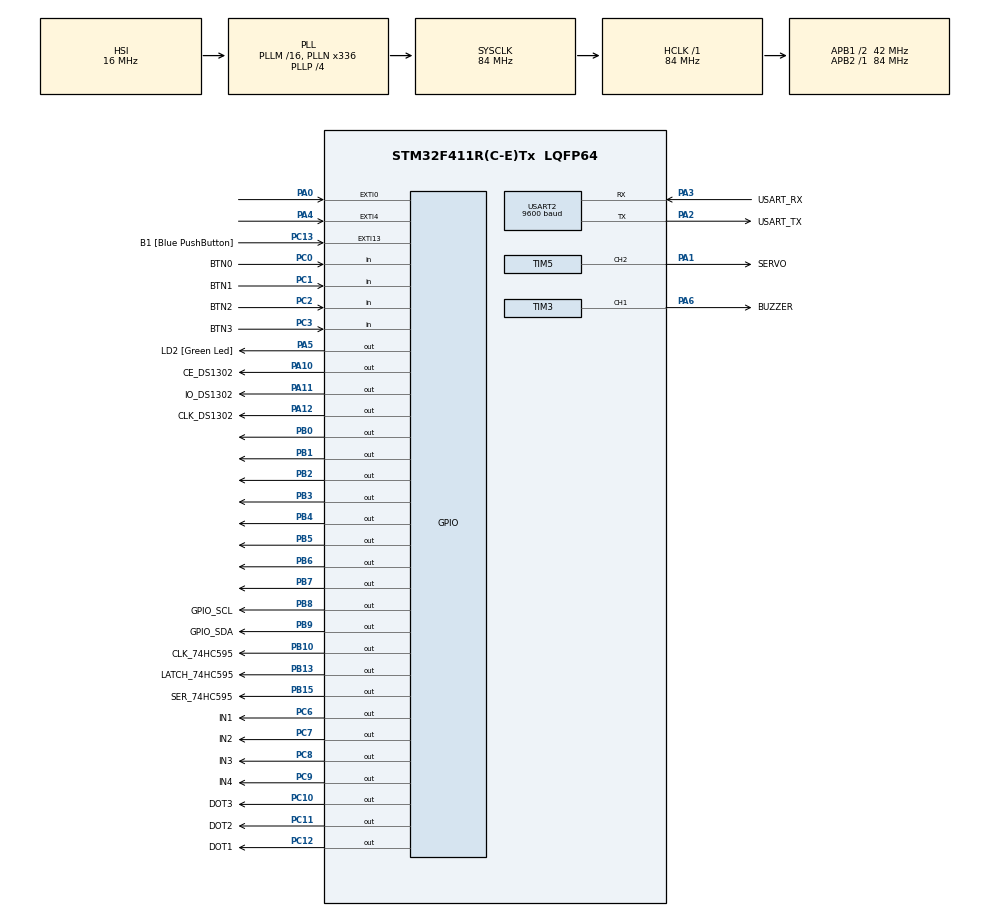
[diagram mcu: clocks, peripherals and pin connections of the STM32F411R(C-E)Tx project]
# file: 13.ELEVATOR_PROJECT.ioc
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FREERTOS.Mutexes01=myMutex01,Dynamic,NULL
FREERTOS.Tasks01=defaultTask,24,128,StartDefaultTask,Default,NULL,Dynamic,NULL,NULL;myTask02,8,128,StartTask02,Default,NULL,Dynamic,NULL,NULL;myTask03,8,128,StartTask03,Default,NULL,Dynamic,NULL,NULL;myTask04,8,128,StartTask04,Default,NULL,Dynamic,NULL,NULL;myTask05,8,128,StartTask05,Default,NULL,Dynamic,NULL,NULL
FREERTOS.configUSE_NEWLIB_REENTRANT=1
Mcu.Family=STM32F4
Mcu.Name=STM32F411R(C-E)Tx
Mcu.Package=LQFP64
NVIC.EXTI0_IRQn=true\:5\:0\:false\:false\:true\:true\:true\:true
NVIC.EXTI15_10_IRQn=true\:5\:0\:false\:false\:true\:true\:true\:true
NVIC.EXTI4_IRQn=true\:5\:0\:false\:false\:true\:true\:true\:true
NVIC.PriorityGroup=NVIC_PRIORITYGROUP_4
NVIC.TIM1_TRG_COM_TIM11_IRQn=true\:5\:0\:false\:false\:true\:true\:true\:true
NVIC.TIM1_UP_TIM10_IRQn=true\:15\:0\:false\:false\:true\:false\:false\:true
NVIC.TIM3_IRQn=true\:5\:0\:false\:false\:true\:true\:true\:true
NVIC.TIM5_IRQn=true\:5\:0\:false\:false\:true\:true\:true\:true
NVIC.TimeBase=TIM1_UP_TIM10_IRQn
NVIC.TimeBaseIP=TIM10
NVIC.USART2_IRQn=true\:5\:0\:false\:false\:true\:true\:true\:true
PA0-WKUP.Signal=GPXTI0
PA1.GPIO_Label=SERVO
PA1.Signal=S_TIM5_CH2
PA10.GPIO_Label=CE_DS1302
PA10.Signal=GPIO_Output
PA11.GPIO_Label=IO_DS1302
PA11.Signal=GPIO_Output
PA12.GPIO_Label=CLK_DS1302
PA12.Signal=GPIO_Output
PA13.GPIO_Label=TMS
PA13.Mode=Serial_Wire
PA13.Signal=SYS_JTMS-SWDIO
PA14.GPIO_Label=TCK
PA14.Mode=Serial_Wire
PA14.Signal=SYS_JTCK-SWCLK
PA2.GPIO_Label=USART_TX
PA2.Mode=Asynchronous
PA2.Signal=USART2_TX
PA3.GPIO_Label=USART_RX
PA3.Mode=Asynchronous
PA3.Signal=USART2_RX
PA4.Signal=GPXTI4
PA5.GPIO_Label=LD2 [Green Led]
PA5.Signal=GPIO_Output
PA6.GPIO_Label=BUZZER
PA6.Signal=S_TIM3_CH1
PB0.Signal=GPIO_Output
PB1.Signal=GPIO_Output
PB10.GPIO_Label=CLK_74HC595
PB10.Signal=GPIO_Output
PB13.GPIO_Label=LATCH_74HC595
PB13.Signal=GPIO_Output
PB15.GPIO_Label=SER_74HC595
PB15.Signal=GPIO_Output
PB2.Signal=GPIO_Output
PB3.Signal=GPIO_Output
PB4.Signal=GPIO_Output
PB5.Signal=GPIO_Output
PB6.Signal=GPIO_Output
PB7.Signal=GPIO_Output
PB8.GPIO_Label=GPIO_SCL
PB8.Signal=GPIO_Output
PB9.GPIO_Label=GPIO_SDA
PB9.Signal=GPIO_Output
PC0.GPIO_Label=BTN0
PC0.Signal=GPIO_Input
PC1.GPIO_Label=BTN1
PC1.Signal=GPIO_Input
PC10.GPIO_Label=DOT3
PC10.Signal=GPIO_Output
PC11.GPIO_Label=DOT2
PC11.Signal=GPIO_Output
PC12.GPIO_Label=DOT1
PC12.Signal=GPIO_Output
PC13-ANTI_TAMP.GPIO_Label=B1 [Blue PushButton]
PC13-ANTI_TAMP.GPIO_ModeDefaultEXTI=GPIO_MODE_IT_FALLING
PC13-ANTI_TAMP.Signal=GPXTI13
PC14-OSC32_IN.Mode=LSE-External-Oscillator
PC14-OSC32_IN.Signal=RCC_OSC32_IN
PC15-OSC32_OUT.Mode=LSE-External-Oscillator
PC15-OSC32_OUT.Signal=RCC_OSC32_OUT
PC2.GPIO_Label=BTN2
PC2.Signal=GPIO_Input
PC3.GPIO_Label=BTN3
PC3.Signal=GPIO_Input
PC6.GPIO_Label=IN1
PC6.Signal=GPIO_Output
PC7.GPIO_Label=IN2
PC7.Signal=GPIO_Output
PC8.GPIO_Label=IN3
PC8.Signal=GPIO_Output
PC9.GPIO_Label=IN4
PC9.Signal=GPIO_Output
PH0\ -\ OSC_IN.Mode=HSE-External-Clock-Source
PH0\ -\ OSC_IN.Signal=RCC_OSC_IN
PH1\ -\ OSC_OUT.Mode=HSE-External-Clock-Source
PH1\ -\ OSC_OUT.Signal=RCC_OSC_OUT
ProjectManager.HeapSize=0x200
ProjectManager.StackSize=0x400
ProjectManager.TargetToolchain=STM32CubeIDE
RCC.48MHZClocksFreq_Value=84000000
RCC.AHBFreq_Value=84000000
RCC.APB1CLKDivider=RCC_HCLK_DIV2
RCC.APB1Freq_Value=42000000
RCC.APB1TimFreq_Value=84000000
RCC.APB2Freq_Value=84000000
RCC.APB2TimFreq_Value=84000000
RCC.CortexFreq_Value=84000000
RCC.FLatency-AdvancedSettings=FLASH_LATENCY_2
RCC.HCLKFreq_Value=84000000
RCC.HSE_VALUE=8000000
RCC.HSI_VALUE=16000000
RCC.PLLN=336
RCC.PLLP=RCC_PLLP_DIV4
RCC.SYSCLKFreq_VALUE=84000000
RCC.SYSCLKSource=RCC_SYSCLKSOURCE_PLLCLK
RCC.VCOOutputFreq_Value=336000000
SH.S_TIM3_CH1.0=TIM3_CH1,PWM Generation1 CH1
SH.S_TIM5_CH2.0=TIM5_CH2,PWM Generation2 CH2
TIM11.Period=1000-1
TIM11.Prescaler=84-1
TIM2.Prescaler=84-1
TIM3.Channel-PWM\ Generation1\ CH1=TIM_CHANNEL_1
TIM3.Period=400-1
TIM3.Prescaler=52.5-1
TIM3.Pulse-PWM\ Generation1\ CH1=200-1
TIM5.Channel-PWM\ Generation2\ CH2=TIM_CHANNEL_2
TIM5.Period=1000-1
TIM5.Prescaler=1680-1
USART2.BaudRate=9600
USART2.VirtualMode=VM_ASYNC
VP_FREERTOS_VS_CMSIS_V2.Mode=CMSIS_V2
VP_SYS_VS_tim10.Mode=TIM10
VP_TIM11_VS_ClockSourceINT.Mode=Enable_Timer
VP_TIM2_VS_ClockSourceINT.Mode=Internal
VP_TIM3_VS_ClockSourceINT.Mode=Internal
VP_TIM5_VS_ClockSourceINT.Mode=Internal
board=NUCLEO-F411RE

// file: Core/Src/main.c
/* USER CODE BEGIN Header */
/**
  ******************************************************************************
  * @file           : main.c
  * @brief          : Main program body
  ******************************************************************************
  * @attention
  *
  * <h2><center>&copy; Copyright (c) 2025 STMicroelectronics.
  * All rights reserved.</center></h2>
  *
  * This software component is licensed by ST under BSD 3-Clause license,
  * the "License"; You may not use this file except in compliance with the
  * License. You may obtain a copy of the License at:
  *                        opensource.org/licenses/BSD-3-Clause
  *
  ******************************************************************************
  */
/* USER CODE END Header */
#include "main.h"
#include "cmsis_os.h"

/* USER CODE BEGIN Includes */
#include "extern.h"
#include "button.h"
#include "stepmotor.h"
#include "buzzer.h"
#include "led.h"
#include "dotmatrix.h"
/* USER CODE END Includes */

TIM_HandleTypeDef htim2;
TIM_HandleTypeDef htim3;
TIM_HandleTypeDef htim5;
TIM_HandleTypeDef htim11;

UART_HandleTypeDef huart2;

/* Definitions for defaultTask */
osThreadId_t defaultTaskHandle;
const osThreadAttr_t defaultTask_attributes = {
  .name = "defaultTask",
  .stack_size = 128 * 4,
  .priority = (osPriority_t) osPriorityNormal,
};
/* Definitions for myTask02 */
osThreadId_t myTask02Handle;
const osThreadAttr_t myTask02_attributes = {
  .name = "myTask02",
  .stack_size = 128 * 4,
  .priority = (osPriority_t) osPriorityLow,
};
/* Definitions for myTask03 */
osThreadId_t myTask03Handle;
const osThreadAttr_t myTask03_attributes = {
  .name = "myTask03",
  .stack_size = 128 * 4,
  .priority = (osPriority_t) osPriorityLow,
};
/* Definitions for myTask04 */
osThreadId_t myTask04Handle;
const osThreadAttr_t myTask04_attributes = {
  .name = "myTask04",
  .stack_size = 128 * 4,
  .priority = (osPriority_t) osPriorityLow,
};
/* Definitions for myTask05 */
osThreadId_t myTask05Handle;
const osThreadAttr_t myTask05_attributes = {
  .name = "myTask05",
  .stack_size = 128 * 4,
  .priority = (osPriority_t) osPriorityLow,
};
/* Definitions for myMutex01 */
osMutexId_t myMutex01Handle;
const osMutexAttr_t myMutex01_attributes = {
  .name = "myMutex01"
};
/* USER CODE BEGIN PV */
uint8_t rx_data;   // uart2 rx byte
 volatile int TIM11_1ms_counter=0;
volatile int line0_timer = 0;
volatile int line1_timer = 0;
/* USER CODE END PV */

void SystemClock_Config(void);
static void MX_GPIO_Init(void);
static void MX_USART2_UART_Init(void);
static void MX_TIM11_Init(void);
static void MX_TIM2_Init(void);
static void MX_TIM3_Init(void);
static void MX_TIM5_Init(void);
void StartDefaultTask(void *argument);
void StartTask02(void *argument);
void StartTask03(void *argument);
void StartTask04(void *argument);
void StartTask05(void *argument);

/* USER CODE BEGIN 0 */

#ifdef __GNUC__    // Add for printf
/* With GCC, small printf (option LD Linker->Libraries->Small printf
   set to 'Yes') calls __io_putchar() */
#define PUTCHAR_PROTOTYPE int __io_putchar(int ch)
#else
#define PUTCHAR_PROTOTYPE int fputc(int ch, FILE *f)
#endif /* __GNUC__ */
/**
  * @brief  Retargets the C library printf function to the USART.
  * @param  None
  * @retval None
  */
PUTCHAR_PROTOTYPE   // Add for printf
{
  /* Place your implementation of fputc here */
  /* e.g. write a character to the USART3 and Loop until the end of transmission */
  HAL_UART_Transmit(&huart2, (uint8_t *)&ch, 1, 0xFFFF);

  return ch;
}
/* USER CODE END 0 */

int main(void)
{

  /* MCU Configuration--------------------------------------------------------*/

  /* Reset of all peripherals, Initializes the Flash interface and the Systick. */
  HAL_Init();

  /* Configure the system clock */
  SystemClock_Config();

  /* Initialize all configured peripherals */
  MX_GPIO_Init();
  MX_USART2_UART_Init();
  MX_TIM11_Init();
  MX_TIM2_Init();
  MX_TIM3_Init();
  MX_TIM5_Init();
  /* USER CODE BEGIN 2 */
  i2c_lcd_init();//lcd init
  HAL_GPIO_WritePin(GPIOB, GPIO_PIN_10 | GPIO_PIN_13 | GPIO_PIN_15, 0);
  HAL_Delay(10); //dot_matrix init

  HAL_UART_Receive_IT(&huart2, &rx_data, 1);
  HAL_TIM_Base_Start_IT(&htim11);
  HAL_TIM_Base_Start_IT(&htim2);   // for make delay_us

  //stepmotor_main();
  //dotmatrix_main_func();
  //dotmatrix_main_test();
  //led_main();
  // i2c_lcd_main();
  //servo_motor_main();
  //ds1302_main();
 //buzzer_main();
  /* USER CODE END 2 */

  /* Init scheduler */
  osKernelInitialize();
  /* Create the mutex(es) */
  /* creation of myMutex01 */
  myMutex01Handle = osMutexNew(&myMutex01_attributes);

  /* Create the thread(s) */
  /* creation of defaultTask */
  defaultTaskHandle = osThreadNew(StartDefaultTask, NULL, &defaultTask_attributes);

  /* creation of myTask02 */
  myTask02Handle = osThreadNew(StartTask02, NULL, &myTask02_attributes);

  /* creation of myTask03 */
  myTask03Handle = osThreadNew(StartTask03, NULL, &myTask03_attributes);

  /* creation of myTask04 */
  myTask04Handle = osThreadNew(StartTask04, NULL, &myTask04_attributes);

  /* creation of myTask05 */
  myTask05Handle = osThreadNew(StartTask05, NULL, &myTask05_attributes);

  /* Start scheduler */
  osKernelStart();

  /* We should never get here as control is now taken by the scheduler */
  /* Infinite loop */
  /* USER CODE BEGIN WHILE */

//	  *(unsigned int*)GPIOC_PUPDR = 0x55;
//	  button_led_toggle_test();
    /* USER CODE END WHILE */

}

void SystemClock_Config(void)
{
  RCC_OscInitTypeDef RCC_OscInitStruct = {0};
  RCC_ClkInitTypeDef RCC_ClkInitStruct = {0};

  /** Configure the main internal regulator output voltage
  */
  __HAL_RCC_PWR_CLK_ENABLE();
  __HAL_PWR_VOLTAGESCALING_CONFIG(PWR_REGULATOR_VOLTAGE_SCALE1);
  /** Initializes the RCC Oscillators according to the specified parameters
  * in the RCC_OscInitTypeDef structure.
  */
  RCC_OscInitStruct.OscillatorType = RCC_OSCILLATORTYPE_HSI;
  RCC_OscInitStruct.HSIState = RCC_HSI_ON;
  RCC_OscInitStruct.HSICalibrationValue = RCC_HSICALIBRATION_DEFAULT;
  RCC_OscInitStruct.PLL.PLLState = RCC_PLL_ON;
  RCC_OscInitStruct.PLL.PLLSource = RCC_PLLSOURCE_HSI;
  RCC_OscInitStruct.PLL.PLLM = 16;
  RCC_OscInitStruct.PLL.PLLN = 336;
  RCC_OscInitStruct.PLL.PLLP = RCC_PLLP_DIV4;
  RCC_OscInitStruct.PLL.PLLQ = 4;
  if (HAL_RCC_OscConfig(&RCC_OscInitStruct) != HAL_OK)
  {
    Error_Handler();
  }
  /** Initializes the CPU, AHB and APB buses clocks
  */
  RCC_ClkInitStruct.ClockType = RCC_CLOCKTYPE_HCLK|RCC_CLOCKTYPE_SYSCLK
                              |RCC_CLOCKTYPE_PCLK1|RCC_CLOCKTYPE_PCLK2;
  RCC_ClkInitStruct.SYSCLKSource = RCC_SYSCLKSOURCE_PLLCLK;
  RCC_ClkInitStruct.AHBCLKDivider = RCC_SYSCLK_DIV1;
  RCC_ClkInitStruct.APB1CLKDivider = RCC_HCLK_DIV2;
  RCC_ClkInitStruct.APB2CLKDivider = RCC_HCLK_DIV1;

  if (HAL_RCC_ClockConfig(&RCC_ClkInitStruct, FLASH_LATENCY_2) != HAL_OK)
  {
    Error_Handler();
  }
}

static void MX_TIM2_Init(void)
{

  TIM_ClockConfigTypeDef sClockSourceConfig = {0};
  TIM_MasterConfigTypeDef sMasterConfig = {0};

  htim2.Instance = TIM2;
  htim2.Init.Prescaler = 84-1;
  htim2.Init.CounterMode = TIM_COUNTERMODE_UP;
  htim2.Init.Period = 4294967295;
  htim2.Init.ClockDivision = TIM_CLOCKDIVISION_DIV1;
  htim2.Init.AutoReloadPreload = TIM_AUTORELOAD_PRELOAD_DISABLE;
  if (HAL_TIM_Base_Init(&htim2) != HAL_OK)
  {
    Error_Handler();
  }
  sClockSourceConfig.ClockSource = TIM_CLOCKSOURCE_INTERNAL;
  if (HAL_TIM_ConfigClockSource(&htim2, &sClockSourceConfig) != HAL_OK)
  {
    Error_Handler();
  }
  sMasterConfig.MasterOutputTrigger = TIM_TRGO_RESET;
  sMasterConfig.MasterSlaveMode = TIM_MASTERSLAVEMODE_DISABLE;
  if (HAL_TIMEx_MasterConfigSynchronization(&htim2, &sMasterConfig) != HAL_OK)
  {
    Error_Handler();
  }

}

static void MX_TIM3_Init(void)
{

  TIM_ClockConfigTypeDef sClockSourceConfig = {0};
  TIM_MasterConfigTypeDef sMasterConfig = {0};
  TIM_OC_InitTypeDef sConfigOC = {0};

  htim3.Instance = TIM3;
  htim3.Init.Prescaler = 52.5-1;
  htim3.Init.CounterMode = TIM_COUNTERMODE_UP;
  htim3.Init.Period = 400-1;
  htim3.Init.ClockDivision = TIM_CLOCKDIVISION_DIV1;
  htim3.Init.AutoReloadPreload = TIM_AUTORELOAD_PRELOAD_DISABLE;
  if (HAL_TIM_Base_Init(&htim3) != HAL_OK)
  {
    Error_Handler();
  }
  sClockSourceConfig.ClockSource = TIM_CLOCKSOURCE_INTERNAL;
  if (HAL_TIM_ConfigClockSource(&htim3, &sClockSourceConfig) != HAL_OK)
  {
    Error_Handler();
  }
  if (HAL_TIM_PWM_Init(&htim3) != HAL_OK)
  {
    Error_Handler();
  }
  sMasterConfig.MasterOutputTrigger = TIM_TRGO_RESET;
  sMasterConfig.MasterSlaveMode = TIM_MASTERSLAVEMODE_DISABLE;
  if (HAL_TIMEx_MasterConfigSynchronization(&htim3, &sMasterConfig) != HAL_OK)
  {
    Error_Handler();
  }
  sConfigOC.OCMode = TIM_OCMODE_PWM1;
  sConfigOC.Pulse = 200-1;
  sConfigOC.OCPolarity = TIM_OCPOLARITY_HIGH;
  sConfigOC.OCFastMode = TIM_OCFAST_DISABLE;
  if (HAL_TIM_PWM_ConfigChannel(&htim3, &sConfigOC, TIM_CHANNEL_1) != HAL_OK)
  {
    Error_Handler();
  }
  HAL_TIM_MspPostInit(&htim3);

}

static void MX_TIM5_Init(void)
{

  TIM_ClockConfigTypeDef sClockSourceConfig = {0};
  TIM_MasterConfigTypeDef sMasterConfig = {0};
  TIM_OC_InitTypeDef sConfigOC = {0};

  htim5.Instance = TIM5;
  htim5.Init.Prescaler = 1680-1;
  htim5.Init.CounterMode = TIM_COUNTERMODE_UP;
  htim5.Init.Period = 1000-1;
  htim5.Init.ClockDivision = TIM_CLOCKDIVISION_DIV1;
  htim5.Init.AutoReloadPreload = TIM_AUTORELOAD_PRELOAD_DISABLE;
  if (HAL_TIM_Base_Init(&htim5) != HAL_OK)
  {
    Error_Handler();
  }
  sClockSourceConfig.ClockSource = TIM_CLOCKSOURCE_INTERNAL;
  if (HAL_TIM_ConfigClockSource(&htim5, &sClockSourceConfig) != HAL_OK)
  {
    Error_Handler();
  }
  if (HAL_TIM_PWM_Init(&htim5) != HAL_OK)
  {
    Error_Handler();
  }
  sMasterConfig.MasterOutputTrigger = TIM_TRGO_RESET;
  sMasterConfig.MasterSlaveMode = TIM_MASTERSLAVEMODE_DISABLE;
  if (HAL_TIMEx_MasterConfigSynchronization(&htim5, &sMasterConfig) != HAL_OK)
  {
    Error_Handler();
  }
  sConfigOC.OCMode = TIM_OCMODE_PWM1;
  sConfigOC.Pulse = 0;
  sConfigOC.OCPolarity = TIM_OCPOLARITY_HIGH;
  sConfigOC.OCFastMode = TIM_OCFAST_DISABLE;
  if (HAL_TIM_PWM_ConfigChannel(&htim5, &sConfigOC, TIM_CHANNEL_2) != HAL_OK)
  {
    Error_Handler();
  }
  HAL_TIM_MspPostInit(&htim5);

}

static void MX_TIM11_Init(void)
{

  htim11.Instance = TIM11;
  htim11.Init.Prescaler = 84-1;
  htim11.Init.CounterMode = TIM_COUNTERMODE_UP;
  htim11.Init.Period = 1000-1;
  htim11.Init.ClockDivision = TIM_CLOCKDIVISION_DIV1;
  htim11.Init.AutoReloadPreload = TIM_AUTORELOAD_PRELOAD_DISABLE;
  if (HAL_TIM_Base_Init(&htim11) != HAL_OK)
  {
    Error_Handler();
  }

}

static void MX_USART2_UART_Init(void)
{

  huart2.Instance = USART2;
  huart2.Init.BaudRate = 9600;
  huart2.Init.WordLength = UART_WORDLENGTH_8B;
  huart2.Init.StopBits = UART_STOPBITS_1;
  huart2.Init.Parity = UART_PARITY_NONE;
  huart2.Init.Mode = UART_MODE_TX_RX;
  huart2.Init.HwFlowCtl = UART_HWCONTROL_NONE;
  huart2.Init.OverSampling = UART_OVERSAMPLING_16;
  if (HAL_UART_Init(&huart2) != HAL_OK)
  {
    Error_Handler();
  }

}

static void MX_GPIO_Init(void)
{
  GPIO_InitTypeDef GPIO_InitStruct = {0};

  /* GPIO Ports Clock Enable */
  __HAL_RCC_GPIOC_CLK_ENABLE();
  __HAL_RCC_GPIOH_CLK_ENABLE();
  __HAL_RCC_GPIOA_CLK_ENABLE();
  __HAL_RCC_GPIOB_CLK_ENABLE();

  /*Configure GPIO pin Output Level */
  HAL_GPIO_WritePin(GPIOA, LD2_Pin|CE_DS1302_Pin|IO_DS1302_Pin|CLK_DS1302_Pin, GPIO_PIN_RESET);

  /*Configure GPIO pin Output Level */
  HAL_GPIO_WritePin(GPIOB, GPIO_PIN_0|GPIO_PIN_1|GPIO_PIN_2|CLK_74HC595_Pin
                          |LATCH_74HC595_Pin|SER_74HC595_Pin|GPIO_PIN_3|GPIO_PIN_4
                          |GPIO_PIN_5|GPIO_PIN_6|GPIO_PIN_7|GPIO_SCL_Pin
                          |GPIO_SDA_Pin, GPIO_PIN_RESET);

  /*Configure GPIO pin Output Level */
  HAL_GPIO_WritePin(GPIOC, IN1_Pin|IN2_Pin|IN3_Pin|IN4_Pin
                          |DOT3_Pin|DOT2_Pin|DOT1_Pin, GPIO_PIN_RESET);

  /*Configure GPIO pin : B1_Pin */
  GPIO_InitStruct.Pin = B1_Pin;
  GPIO_InitStruct.Mode = GPIO_MODE_IT_FALLING;
  GPIO_InitStruct.Pull = GPIO_NOPULL;
  HAL_GPIO_Init(B1_GPIO_Port, &GPIO_InitStruct);

  /*Configure GPIO pins : BTN0_Pin BTN1_Pin BTN2_Pin BTN3_Pin */
  GPIO_InitStruct.Pin = BTN0_Pin|BTN1_Pin|BTN2_Pin|BTN3_Pin;
  GPIO_InitStruct.Mode = GPIO_MODE_INPUT;
  GPIO_InitStruct.Pull = GPIO_NOPULL;
  HAL_GPIO_Init(GPIOC, &GPIO_InitStruct);

  /*Configure GPIO pins : PA0 PA4 */
  GPIO_InitStruct.Pin = GPIO_PIN_0|GPIO_PIN_4;
  GPIO_InitStruct.Mode = GPIO_MODE_IT_RISING;
  GPIO_InitStruct.Pull = GPIO_NOPULL;
  HAL_GPIO_Init(GPIOA, &GPIO_InitStruct);

  /*Configure GPIO pins : LD2_Pin CE_DS1302_Pin IO_DS1302_Pin CLK_DS1302_Pin */
  GPIO_InitStruct.Pin = LD2_Pin|CE_DS1302_Pin|IO_DS1302_Pin|CLK_DS1302_Pin;
  GPIO_InitStruct.Mode = GPIO_MODE_OUTPUT_PP;
  GPIO_InitStruct.Pull = GPIO_NOPULL;
  GPIO_InitStruct.Speed = GPIO_SPEED_FREQ_LOW;
  HAL_GPIO_Init(GPIOA, &GPIO_InitStruct);

  /*Configure GPIO pins : PB0 PB1 PB2 CLK_74HC595_Pin
                           LATCH_74HC595_Pin SER_74HC595_Pin PB3 PB4
                           PB5 PB6 PB7 GPIO_SCL_Pin
                           GPIO_SDA_Pin */
  GPIO_InitStruct.Pin = GPIO_PIN_0|GPIO_PIN_1|GPIO_PIN_2|CLK_74HC595_Pin
                          |LATCH_74HC595_Pin|SER_74HC595_Pin|GPIO_PIN_3|GPIO_PIN_4
                          |GPIO_PIN_5|GPIO_PIN_6|GPIO_PIN_7|GPIO_SCL_Pin
                          |GPIO_SDA_Pin;
  GPIO_InitStruct.Mode = GPIO_MODE_OUTPUT_PP;
  GPIO_InitStruct.Pull = GPIO_NOPULL;
  GPIO_InitStruct.Speed = GPIO_SPEED_FREQ_LOW;
  HAL_GPIO_Init(GPIOB, &GPIO_InitStruct);

  /*Configure GPIO pins : IN1_Pin IN2_Pin IN3_Pin IN4_Pin
                           DOT3_Pin DOT2_Pin DOT1_Pin */
  GPIO_InitStruct.Pin = IN1_Pin|IN2_Pin|IN3_Pin|IN4_Pin
                          |DOT3_Pin|DOT2_Pin|DOT1_Pin;
  GPIO_InitStruct.Mode = GPIO_MODE_OUTPUT_PP;
  GPIO_InitStruct.Pull = GPIO_NOPULL;
  GPIO_InitStruct.Speed = GPIO_SPEED_FREQ_LOW;
  HAL_GPIO_Init(GPIOC, &GPIO_InitStruct);

  /* EXTI interrupt init*/
  HAL_NVIC_SetPriority(EXTI0_IRQn, 5, 0);
  HAL_NVIC_EnableIRQ(EXTI0_IRQn);

  HAL_NVIC_SetPriority(EXTI4_IRQn, 5, 0);
  HAL_NVIC_EnableIRQ(EXTI4_IRQn);

  HAL_NVIC_SetPriority(EXTI15_10_IRQn, 5, 0);
  HAL_NVIC_EnableIRQ(EXTI15_10_IRQn);

}

void StartDefaultTask(void *argument)
{
  /* USER CODE BEGIN 5 */
  /* Infinite loop */
  for(;;)
  {
	 // printf(">> Task01 entered\n");
	  // led_main();
	   osDelay(1);
  }
  /* USER CODE END 5 */
}

void StartTask02(void *argument)
{
  /* USER CODE BEGIN StartTask02 */
  /* Infinite loop */
  for(;;)
  {
	  printf(">> Task02 entered\n");
 //  dotmatrix_main_test();
    if(osMutexWait(myMutex01Handle,1000)== osOK)//lock key
    {
    	i2c_lcd_dis_line0();
    	i2c_lcd_dis_line1();
    	osMutexRelease(myMutex01Handle); //unlock
    }
    osDelay(1);
  }
  /* USER CODE END StartTask02 */
}

void StartTask03(void *argument)
{
  /* USER CODE BEGIN StartTask03 */
  /* Infinite loop */
  for(;;)
  {
	  printf(">> Task03 entered\n");
    if(osMutexWait(myMutex01Handle,1000)== osOK)//lock key
    {
    	//i2c_lcd_dis_line1();
    	osMutexRelease(myMutex01Handle); //unlock
    }
	osDelay(1);
  }
  /* USER CODE END StartTask03 */
}

void StartTask04(void *argument)
{
  /* USER CODE BEGIN StartTask04 */
  /* Infinite loop */
  for(;;)
  {

    if(osMutexWait(myMutex01Handle,1000)== osOK)//lock key
    {
    	printf(">> Task04 entered\n");
    	shift_left_keep_ledon();
    	osMutexRelease(myMutex01Handle); //unlock
    }
    osDelay(1);
  }
  /* USER CODE END StartTask04 */
}

void StartTask05(void *argument)
{
  /* USER CODE BEGIN StartTask05 */
  /* Infinite loop */
  for(;;)
  {

	 if(osMutexWait(myMutex01Handle,1000)== osOK)//lock key
	 {
		  printf(">> Task05 entered\n");
		  dotmatrix_main_func();
	    osMutexRelease(myMutex01Handle); //unlock
	 }
    osDelay(1);
  }
  /* USER CODE END StartTask05 */
}

void HAL_TIM_PeriodElapsedCallback(TIM_HandleTypeDef *htim)
{
  if (htim->Instance == TIM10) {
    HAL_IncTick();
  }
  /* USER CODE BEGIN Callback 1 */
  if (htim->Instance == TIM11) {
	  TIM11_1ms_counter++;
	  line0_timer++;
	  line1_timer++;
  }

  /* USER CODE END Callback 1 */
}

void Error_Handler(void)
{
  __disable_irq();
  while (1)
  {
  }
}

/************************ (C) COPYRIGHT STMicroelectronics *****END OF FILE****/
